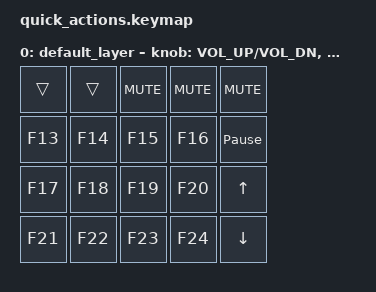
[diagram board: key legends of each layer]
/*
 * Copyright (c) 2022 The ZMK Contributors
 *
 * SPDX-License-Identifier: MIT
 */

#include <behaviors.dtsi>
#include <dt-bindings/zmk/keys.h>
#include <dt-bindings/zmk/bt.h>

/ {
    keymap {
        compatible = "zmk,keymap";

        default_layer {

            bindings = <
    &trans  &trans  &kp C_MUTE &kp C_MUTE &kp C_MUTE
    &kp F13 &kp F14 &kp F15 &kp F16 &kp PAUSE_BREAK
    &kp F17 &kp F18 &kp F19 &kp F20 &kp UP
    &kp F21 &kp F22 &kp F23 &kp F24 &kp DOWN
            >;

            sensor-bindings = <&inc_dec_kp C_VOL_UP C_VOL_DN &inc_dec_kp PG_UP PG_DN &inc_dec_kp UP DOWN>;
        };
    };
};
